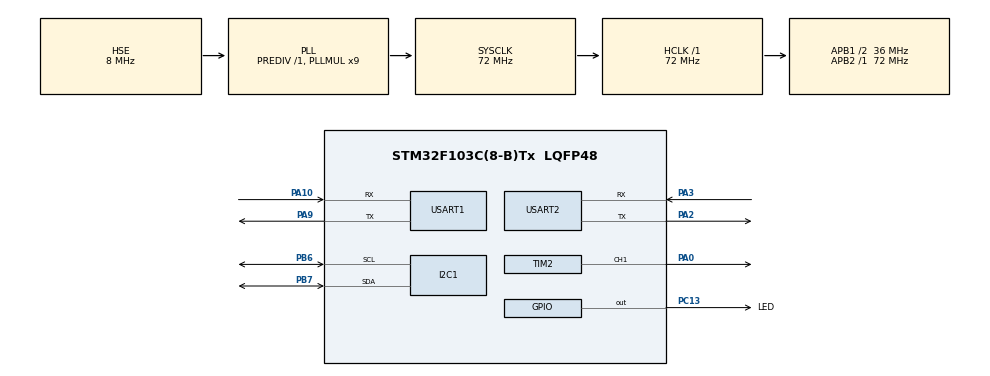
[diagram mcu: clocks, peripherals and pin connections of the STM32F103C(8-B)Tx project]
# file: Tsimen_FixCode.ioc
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ADC1.Channel-0\#ChannelRegularConversion=ADC_CHANNEL_TEMPSENSOR
ADC1.ContinuousConvMode=ENABLE
ADC1.NbrOfConversion=1
ADC1.NbrOfConversionFlag=1
ADC1.Rank-0\#ChannelRegularConversion=1
ADC1.SamplingTime-0\#ChannelRegularConversion=ADC_SAMPLETIME_71CYCLES_5
ADC1.master=1
Dma.Request0=USART1_RX
Dma.Request1=USART1_TX
Dma.Request2=USART2_RX
Dma.Request3=USART2_TX
Dma.USART1_RX.0.Direction=DMA_PERIPH_TO_MEMORY
Dma.USART1_RX.0.Instance=DMA1_Channel5
Dma.USART1_RX.0.MemDataAlignment=DMA_MDATAALIGN_BYTE
Dma.USART1_RX.0.MemInc=DMA_MINC_ENABLE
Dma.USART1_RX.0.Mode=DMA_CIRCULAR
Dma.USART1_RX.0.PeriphDataAlignment=DMA_PDATAALIGN_BYTE
Dma.USART1_RX.0.PeriphInc=DMA_PINC_DISABLE
Dma.USART1_RX.0.Priority=DMA_PRIORITY_LOW
Dma.USART1_TX.1.Direction=DMA_MEMORY_TO_PERIPH
Dma.USART1_TX.1.Instance=DMA1_Channel4
Dma.USART1_TX.1.MemDataAlignment=DMA_MDATAALIGN_BYTE
Dma.USART1_TX.1.MemInc=DMA_MINC_ENABLE
Dma.USART1_TX.1.Mode=DMA_NORMAL
Dma.USART1_TX.1.PeriphDataAlignment=DMA_PDATAALIGN_BYTE
Dma.USART1_TX.1.PeriphInc=DMA_PINC_DISABLE
Dma.USART1_TX.1.Priority=DMA_PRIORITY_LOW
Dma.USART2_RX.2.Direction=DMA_PERIPH_TO_MEMORY
Dma.USART2_RX.2.Instance=DMA1_Channel6
Dma.USART2_RX.2.MemDataAlignment=DMA_MDATAALIGN_BYTE
Dma.USART2_RX.2.MemInc=DMA_MINC_ENABLE
Dma.USART2_RX.2.Mode=DMA_CIRCULAR
Dma.USART2_RX.2.PeriphDataAlignment=DMA_PDATAALIGN_BYTE
Dma.USART2_RX.2.PeriphInc=DMA_PINC_DISABLE
Dma.USART2_RX.2.Priority=DMA_PRIORITY_LOW
Dma.USART2_TX.3.Direction=DMA_MEMORY_TO_PERIPH
Dma.USART2_TX.3.Instance=DMA1_Channel7
Dma.USART2_TX.3.MemDataAlignment=DMA_MDATAALIGN_BYTE
Dma.USART2_TX.3.MemInc=DMA_MINC_ENABLE
Dma.USART2_TX.3.Mode=DMA_NORMAL
Dma.USART2_TX.3.PeriphDataAlignment=DMA_PDATAALIGN_BYTE
Dma.USART2_TX.3.PeriphInc=DMA_PINC_DISABLE
Dma.USART2_TX.3.Priority=DMA_PRIORITY_LOW
Mcu.Family=STM32F1
Mcu.Name=STM32F103C(8-B)Tx
Mcu.Package=LQFP48
NVIC.DMA1_Channel4_IRQn=true\:1\:0\:true\:false\:true\:false\:true
NVIC.DMA1_Channel5_IRQn=true\:1\:0\:true\:false\:true\:false\:true
NVIC.DMA1_Channel6_IRQn=true\:1\:0\:true\:false\:true\:false\:true
NVIC.DMA1_Channel7_IRQn=true\:1\:0\:true\:false\:true\:false\:true
NVIC.PriorityGroup=NVIC_PRIORITYGROUP_4
NVIC.TIM2_IRQn=true\:0\:0\:false\:false\:true\:true\:true
NVIC.USART1_IRQn=true\:1\:0\:true\:false\:true\:true\:true
NVIC.USART2_IRQn=true\:1\:0\:true\:false\:true\:true\:true
PA0-WKUP.Signal=S_TIM2_CH1_ETR
PA10.GPIO_PuPd=GPIO_PULLDOWN
PA10.Mode=Asynchronous
PA10.Signal=USART1_RX
PA13.Mode=Serial_Wire
PA13.Signal=SYS_JTMS-SWDIO
PA14.Mode=Serial_Wire
PA14.Signal=SYS_JTCK-SWCLK
PA2.Mode=Asynchronous
PA2.Signal=USART2_TX
PA3.GPIO_PuPd=GPIO_PULLDOWN
PA3.Mode=Asynchronous
PA3.Signal=USART2_RX
PA9.Mode=Asynchronous
PA9.Signal=USART1_TX
PB6.Mode=I2C
PB6.Signal=I2C1_SCL
PB7.Mode=I2C
PB7.Signal=I2C1_SDA
PC13-TAMPER-RTC.GPIO_Label=LED
PC13-TAMPER-RTC.GPIO_ModeDefaultOutputPP=GPIO_MODE_OUTPUT_PP
PC13-TAMPER-RTC.GPIO_PuPd=GPIO_NOPULL
PC13-TAMPER-RTC.PinState=GPIO_PIN_SET
PC13-TAMPER-RTC.Signal=GPIO_Output
PD0-OSC_IN.Mode=HSE-External-Oscillator
PD0-OSC_IN.Signal=RCC_OSC_IN
PD1-OSC_OUT.Mode=HSE-External-Oscillator
PD1-OSC_OUT.Signal=RCC_OSC_OUT
ProjectManager.HeapSize=0x200
ProjectManager.StackSize=0x400
ProjectManager.TargetToolchain=MDK-ARM V5
RCC.ADCPresc=RCC_ADCPCLK2_DIV6
RCC.AHBFreq_Value=72000000
RCC.APB1CLKDivider=RCC_HCLK_DIV2
RCC.APB1Freq_Value=36000000
RCC.APB1TimFreq_Value=72000000
RCC.APB2Freq_Value=72000000
RCC.APB2TimFreq_Value=72000000
RCC.HCLKFreq_Value=72000000
RCC.PLLMUL=RCC_PLL_MUL9
RCC.PLLSourceVirtual=RCC_PLLSOURCE_HSE
RCC.SYSCLKFreq_VALUE=72000000
RCC.SYSCLKSource=RCC_SYSCLKSOURCE_PLLCLK
RCC.USBFreq_Value=72000000
SH.S_TIM2_CH1_ETR.0=TIM2_CH1,PWM Generation1 CH1
TIM2.Channel-PWM\ Generation1\ CH1=TIM_CHANNEL_1
TIM2.Period=19999
TIM2.Prescaler=71
USART1.VirtualMode=VM_ASYNC
USART2.VirtualMode=VM_ASYNC
VP_ADC1_TempSens_Input.Mode=IN-TempSens
VP_TIM2_VS_ClockSourceINT.Mode=Internal
board=custom

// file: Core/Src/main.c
/* USER CODE BEGIN Header */
/**
  ******************************************************************************
  * @file           : main.c
  * @brief          : Main program body
  ******************************************************************************
  * @attention
  *
  * Copyright (c) 2022 STMicroelectronics.
  * All rights reserved.
  *
  * This software is licensed under terms that can be found in the LICENSE file
  * in the root directory of this software component.
  * If no LICENSE file comes with this software, it is provided AS-IS.
  *
  ******************************************************************************
  */
/* USER CODE END Header */
#include "main.h"
#include "adc.h"
#include "dma.h"
#include "i2c.h"
#include "tim.h"
#include "usart.h"
#include "gpio.h"

/* USER CODE BEGIN Includes */
#include <stdio.h>
#include <string.h>
#include "sht30_i2c_driver.h"
/* USER CODE END Includes */

/* USER CODE BEGIN PV */

//Some messy variable definitions.
extern uint8_t I2CRXBuffer[6];                                                //T&H Sensor data buffer
// uint8_t dataone[7] = {0x01,0x06,0x00,0x00,0x08,0x88,0x0c};                 //We will never use this array again.
// uint8_t rebuffer[10];                                                      //We will never use this array again.
int i = 0 ,x = 0;                                                             //Common variables
int CRC_i = 0,CRC_j = 0;                                                      //These two variables is used for CRC16 check.
uint16_t CRC16 = 0;                                                           //This is a 16 bit variable. To save the CRCdata
uint8_t CRC_Data[16] = {0};                                                   //This is an array of 16 elements. To store the checked data of PC communication.
int memv_i,memv_j;                                                            //These two variables is used for a private function, which is used for move elements of a specific length in array A to array B.
int view_i;
uint8_t MAC[] ={"-MAC:[20-22-03-17-18-26]"};                                  //This is the version of the embedded system.
uint8_t Ver[47] = {0};                                                        //This array will be used to store the complete version information of Tsimen2.0 .

//To communicate with the system.
uint8_t U1_Spec_reset[] = {0x01,0x06,0x00,0x00,0x00,0x00,0xCA,0x89};          //reset the spectrometer
uint8_t U1_Spec_mac[] = {0x01,0x03,0x00,0x00,0x00,0x00,0xCA,0x45};            //receive the MAC version
uint8_t U1_Spec_integ[] = {0x01,0x64,0x00,0x00,0x01,0xF4,0x15,0x70};          //configure the integration time
uint8_t U1_Spec_vinteg[] = {0x01,0x65,0x00,0x00,0x00,0x00,0xC2,0x4D};         //view the integration time
uint8_t U1_Spec_pul1[] = {0x01,0x68};                                         //configure the lamp pulse(command1)
uint8_t U1_Spec_pul2[] = {0x01,0x69};                                         //configure the lamp pulse(command2)
uint8_t U1_Spec_vpul[] = {0x01,0x6A,0x00,0x00,0x00,0x00,0xC3,0x19};           //view the lamp pulse
uint8_t U1_Spec_pix[] = {0x01,0x6B};                                          //configure the pixel range
uint8_t U1_Spec_vpix[] = {0x01,0x6C,0x00,0x00,0x00,0x00,0xC3,0x91};           //view the pixel range
uint8_t U1_Spec_ave[] = {0x01,0x6E};                                          //configure the average times
// uint8_t U1_Spec_ave50[] = {0x01,0x6E,0x00,0x32,0x00,0x00,0xCC,0X49};          //configure the average 50
uint8_t U1_Spec_vave[] = {0x01,0x6F,0x00,0x00,0x00,0x00,0xC3,0xD5};           //view the average times
uint8_t U1_Spec_get_par[] = {0x01,0x67,0x00,0x00,0x00,0x00,0x02,0x34};        //get the calibration parameters
uint8_t U1_Spec_vwavelength[] = {0x01,0x6D,0x00,0x00,0x00,0x00,0x03,0xAC};    //view all wavelength values corresponding to the current pixel range
uint8_t U1_Spec_darkdata[] = {0x01,0x86,0x00,0x00,0x00,0x00,0x14,0x88};       //get the spectrometer data under dark current
uint8_t U1_Spec_referdata[] = {0x01,0x87,0x00,0x00,0x00,0x00,0xD4,0xB5};      //get the spectrometer data under reference signal
uint8_t U1_Spec_samdata[] = {0x01,0x88,0x00,0x00,0x00,0x00,0xD5,0xE1};        //get the spectrometer data under sample signal
uint8_t U1_Spec_totaldata[] = {0x01,0x89,0x00,0x00,0x00,0x00,0x15,0xDC};      //get the spectrometer data under three conditions
// uint8_t U1_SPec_intemp[] = {0x01,0x91,0x00,0x00,0x00,0x00,0x17,0xFC};         //get the internal ambient temperature
// uint8_t U1_Spec_extemp[] = {0x01,0x90,0x00,0x00,0x00,0x00,0xD7,0xC1};         //get the external ambient temperature
uint8_t U1_Spec_temp[] = {0x01,0x90,0x00,0x00,0x00,0x00,0xD7,0XC1};           //get the intemp and out temp and outhum.
uint8_t U1_Spec_wave[] = {0x01,0x91};                                        //view the waveform
// uint8_t U1_Spec_test1[] = {0x01,0x10};                                         //Test1
// uint8_t U1_Spec_test2[] = {0x01,0x11};                                         //Test2

//To communicate with the spectrometer.
uint8_t U2_Spec_reset[] = {0x52,0xBD,0x3E};                                         //usart2 to reset the spectrometer
uint8_t U2_Spec_mac[] = {0x56,0x7E,0x3F};                                           //usart2 to receive the MAC version
uint8_t U2_Spec_integ[] = {0x69,0x00,0x00,0x01,0xF4,0x1E,0x78};                     //usart2 to Configure the integration time
uint8_t U2_Spec_vinteg[] = {0x3F,0x69,0x6E,0xD0};                                   //usart2 to view the integration time
uint8_t U2_Spec_pul[] = {0x30,0x00,0x00,0x27,0x10,0x00,0x04,0x93,0xE0,0x5C,0xB5};   //usart2 to configure the lamp pulse
uint8_t U2_Spec_vpul[] = {0x3F,0x30,0x54,0x10};                                     //usart2 to view the lamp pulse
uint8_t U2_Spec_pix[] = {0x50,0x00,0x03,0x00,0x00,0x07,0xFF,0x00,0x01,0x77,0x35};   //usart2 to configure the pixel range
uint8_t U2_Spec_vpix[] = {0x3F,0x50,0x7C,0x10};                                     //usart2 to view the pixel range
uint8_t U2_Spec_ave[] = {0x41,0x00,0x00,0xCA,0x21};                                 //usart2 to configure the average times
uint8_t U2_Spec_ave50[] = {0x41,0x00,0x32,0x01,0xA0};
uint8_t U2_Spec_vave[] = {0x3F,0x41,0x70,0xD0};                                     //usart2 to view the average times
uint8_t U2_Spec_get_par[] = {0x78,0x62,0xBF};                                       //usart2 to get the calibration parameters
uint8_t U2_Spec_vwavelength[] = {0x3F,0x53,0x7D,0x50};                              //usart2 to view all wavelength values corresponding to the current pixel range
uint8_t U2_Spec_xenonoff[] = {0x31,0x00,0x20,0x14};                                 //usart2 to turn off the xenon
uint8_t U2_Spec_xenonon[] = {0x31,0x01,0xE0,0xD5};                                  //usart2 to turn on the xenon
uint8_t U2_Spec_xenononone[] = {0x31,0x81,0x40,0xD4};                               //usart2 to turn on the xenon in one time mode.
uint8_t U2_Spec_getdata[] = {0x53,0x7D,0xFF};                                       //usart2 to get the spectrometer data

// uint8_t ErrorUsart1[] = {0xFF,0XFF,0xFF,0XFF,0xFF,0XFF,0xFF,0XFF};               //USART1's data error.

uint8_t Spec_OK[] = {0x06,0x42,0x3F};                                               //Spectrometer return data when the message is right.

uint8_t testmotor[] = {0xFF};                                                    //This array is used to test the steering angle of motor.
/* USER CODE END PV */

void SystemClock_Config(void);

int main(void)
{

  /* MCU Configuration--------------------------------------------------------*/

  /* Reset of all peripherals, Initializes the Flash interface and the Systick. */
  HAL_Init();

  /* USER CODE BEGIN Init */
  //To clear the cache of these array
  memset(I2CRXBuffer,0,sizeof(I2CRXBuffer));
  memset(CRC_Data,0,sizeof(CRC_Data));
  memset(Ver,0,sizeof(Ver));
  memset(Dec,0,sizeof(Dec));
  memset(Data,0,sizeof(Data));

  // #ifdef __GNUC__
  // #define PUTCHAR_PROTOTYPE int __io_putchar(int ch)
  // #else
  // #define PUTCHAR_PROTOTYPE int fputc(int ch, FILE *f)
  // #endif
  // PUTCHAR_PROTOTYPE
  // {
  //    //具体哪个串口可以更改USART1为其它串�??
  //    while ((USART1->SR & 0X40) == 0); //循环发�??,直到发�?�完�??
  //    USART1->DR = (uint8_t) ch;
  //    return ch;
  // }

  /* USER CODE END Init */

  /* Configure the system clock */
  SystemClock_Config();

  /* Initialize all configured peripherals */
  MX_GPIO_Init();
  MX_DMA_Init();
  MX_USART1_UART_Init();
  MX_ADC1_Init();
  MX_I2C1_Init();
  MX_TIM2_Init();
  MX_USART2_UART_Init();
  /* USER CODE BEGIN 2 */

  //Turn on the DMA receiver.
  HAL_UART_Receive_DMA(&huart1,Rx1_Buffer,Rx1BufferSize);
  HAL_UART_Receive_DMA(&huart2,Rx2_Buffer,Rx2BufferSize);

  //Turn on the PWM.
  HAL_TIM_PWM_Start(&htim2,TIM_CHANNEL_1);
  // __HAL_TIM_SET_COMPARE(&htim2,TIM_CHANNEL_1,500);
  // HAL_Delay(700);
  // PWM_start();
  // HAL_Delay(700);
  // __HAL_TIM_SET_COMPARE(&htim2,TIM_CHANNEL_1,1500);
  PWM_dark();
  HAL_Delay(700);

  HAL_UART_Transmit(&huart2,U2_Spec_reset,3,0xFFFF);
  HAL_Delay(700);
  // HAL_UART_Transmit(&huart2,U2_Spec_ave50,5,0xFFFF);
  // HAL_Delay(700);

  //Debug the motor
  // HAL_TIM_PWM_Start(&htim2,TIM_CHANNEL_1);
  // __HAL_TIM_SET_COMPARE(&htim2,TIM_CHANNEL_1,2500);
  // HAL_Delay(700);
  // __HAL_TIM_SET_COMPARE(&htim2,TIM_CHANNEL_1,1500);
  // HAL_Delay(700);

  /* USER CODE END 2 */

  /* Infinite loop */
  /* USER CODE BEGIN WHILE */
  while (1)
  {

    //We use the PINC13 to flash the LED.
    HAL_GPIO_WritePin(GPIOC,LED_Pin,GPIO_PIN_SET);
    HAL_Delay(50);

    /**
     * @brief This comes to the main part of the communication instruction. Totally
     */

    //To reset the spectrometer --- command one
    // if (memcmp(Dec,U1_Spec_reset,6) == 0)
    //   {
    //     //ModBus_CRC16
    //     PWM_dark();
    //     CRC16 = ModBus_CRC16(Dec,6);
    //     if (Dec[7]==(uint8_t)CRC16&0xFF && Dec[6]==(uint8_t)(CRC16>>8)&0xFF)
    //     {
    //       CRC16 = 0;
    //       // HAL_UART_Transmit(&huart1,Dec,8,0xFFFF);
    //       HAL_UART_Transmit(&huart2,U2_Spec_reset,3,0xFFFF);

    //       // for (i=0;i<100;i++)
    //       // {
    //       //   if (memcmp(Data,Spec_OK,3) == 0)
    //       //   {break;}
    //       // }

    //       // while (memcmp(Data,Spec_OK,3) != 0)
    //       // {
    //       //   HAL_UART_Transmit(&huart2,U2_Spec_reset,3,0xFFFF);
    //       //   HAL_Delay(50);
    //       //   HAL_GPIO_TogglePin(GPIOC,LED_Pin);
    //       // }
    //       // HAL_UART_Transmit(&huart1,Data,Rx2_lendemo,0xFFFF);
    //       // __HAL_TIM_SET_COMPARE(&htim2,TIM_CHANNEL_1,2500);
    //       // HAL_Delay(700);
    //       // __HAL_TIM_SET_COMPARE(&htim2,TIM_CHANNEL_1,1500);
    //       // HAL_Delay(700);
    //       // HAL_Delay(30);
    //       Rx2_lendemo = 0;
    //       memset(Data,0,sizeof(Data));
    //       memset(Dec,0,sizeof(Dec));
    //     }
    //     else
    //     {
    //       HAL_UART_Transmit(&huart1,"CRCERROR",8,0xFFFF);     //if CRC check is incorrect ,then return "CRCERROR"
    //       memset(Dec,0,sizeof(Dec));
    //     }
    //   }

    // //To view the MAC version --- command two
    // else if (memcmp(Dec,U1_Spec_mac,6) == 0)
    //   {
    //     //ModBus_CRC16
    //     CRC16 = ModBus_CRC16(Dec,6);
    //     if (Dec[7]==(uint8_t)CRC16&0xFF && Dec[6]==(uint8_t)(CRC16>>8)&0xFF)
    //     {
    //       CRC16 = 0;
    //       // HAL_UART_Transmit(&huart1,Dec,2,0xFFFF);
    //       HAL_UART_Transmit(&huart2,U2_Spec_mac,sizeof(U2_Spec_mac),0xFFFF);
    //       // while (memcmp(Data,Spec_mac,23) != 0)
    //       // {
    //       //   HAL_UART_Transmit(&huart2,U2_Spec_mac,3,0xFFFF);
    //       //   HAL_Delay(50);
    //       //   HAL_GPIO_TogglePin(GPIOC,LED_Pin);
    //       // }
    //       HAL_Delay(30);
    //       memv(Ver,Data,0,0,21);
    //       strcat(Ver,MAC);
    //       CRC16 = ModBus_CRC16(Ver,45);
    //       Ver[46] = CRC16 & 0xFF;
    //       Ver[45] = (CRC16 >> 8) & 0xFF;
    //       HAL_UART_Transmit(&huart1,Ver,sizeof(Ver),0xFFFF);
    //       Rx2_lendemo = 0;
    //       // x = 0;
    //       memset(Ver,0,sizeof(Ver));
    //       memset(Data,0,sizeof(Data));
    //       memset(Dec,0,sizeof(Dec));
    //     }
    //     else
    //     {
    //       HAL_UART_Transmit(&huart1,"CRCERROR",8,0xFFFF);     //if CRC check is incorrect ,then return "CRCERROR"
    //       memset(Dec,0,sizeof(Dec));
    //     }
    //   }

    // //To configure the integration time --- command three
    // else if (memcmp(Dec,U1_Spec_integ,2) == 0)
    //   {
    //     //ModBus_CRC16
    //     CRC16 = ModBus_CRC16(Dec,6);
    //     if (Dec[7]==(uint8_t)CRC16&0xFF && Dec[6]==(uint8_t)(CRC16>>8)&0xFF)
    //     {
    //       CRC16 = 0;
    //       U2_Spec_integ[1] = Dec[2];
    //       U2_Spec_integ[2] = Dec[3];
    //       U2_Spec_integ[3] = Dec[4];
    //       U2_Spec_integ[4] = Dec[5];
    //       CRC16 = ModBus_CRC16(U2_Spec_integ,5);
    //       U2_Spec_integ[6] = CRC16 & 0xFF;
    //       U2_Spec_integ[5] = (CRC16 >> 8) & 0xFF;
    //       CRC16 = 0;
    //       // HAL_UART_Transmit(&huart1,Dec,8,0xFFFF);
    //       HAL_UART_Transmit(&huart2,U2_Spec_integ,sizeof(U2_Spec_integ),0xFFFF);

    //       // for (i=0;i<100;i++)
    //       // {
    //       //   if (memcmp(Data,Spec_OK,3) == 0 )
    //       //   {break;}
    //       // }

    //       // while(memcmp(Data,CRC,sizeof(CRC) != 0)
    //       // {}
    //       HAL_Delay(30);
    //       // HAL_UART_Transmit(&huart1,Data,Rx2_lendemo,0xFFFF);
    //       Rx2_lendemo = 0;
    //       memset(Data,0,sizeof(Data));
    //       memset(Dec,0,sizeof(Dec));
    //     }
    //     else
    //     {
    //       HAL_UART_Transmit(&huart1,"CRCERROR",8,0xFFFF);     //if CRC check is incorrect ,then return "CRCERROR"
    //       memset(Dec,0,sizeof(Dec));
    //     }
    //   }

    // //To view the integration time --- command four
    // else if (memcmp(Dec,U1_Spec_vinteg,6) == 0)
    //   {
    //     //ModBus_CRC16
    //     CRC16 = ModBus_CRC16(Dec,6);
    //     if (Dec[7]==(uint8_t)CRC16&0xFF && Dec[6]==(uint8_t)(CRC16>>8)&0xFF)
    //     {
    //       CRC16 = 0;
    //       // HAL_UART_Transmit(&huart1,Dec,8,0xFFFF);
    //       HAL_UART_Transmit(&huart2,U2_Spec_vinteg,sizeof(U2_Spec_vinteg),0xFFFF);
    //       //while()
    //       //{}
    //       HAL_Delay(30);
    //       CRC_Data[0] = 0x01;
    //       CRC_Data[1] = 0x65;
    //       memv(CRC_Data,Data,2,1,4);
    //       CRC16 = ModBus_CRC16(CRC_Data,6);
    //       CRC_Data[7] = CRC16 & 0xFF;
    //       CRC_Data[6] = (CRC16>>8) & 0xFF;
    //       memv(Data,CRC_Data,0,0,8);
    //       HAL_UART_Transmit(&huart1,Data,8,0xFFFF);
    //       Rx2_lendemo = 0;
    //       memset(Data,0,sizeof(Data));
    //       memset(Dec,0,sizeof(Dec));
    //     }
    //     else
    //     {
    //       HAL_UART_Transmit(&huart1,"CRCERROR",8,0xFFFF);     //if CRC check is incorrect ,then return "CRCERROR"
    //       memset(Dec,0,sizeof(Dec));
    //     }
    //   }

    // //To configure the lamp pulse --- command five
    // else if (memcmp(Dec,U1_Spec_pul1,2) == 0)
    //   {
    //     CRC16 = ModBus_CRC16(Dec,6);
    //     memset(CRC_Data,0,sizeof(CRC_Data));
    //     if (Dec[7]==(uint8_t)CRC16&0xFF && Dec[6]==(uint8_t)(CRC16>>8)&0xFF)
    //     {
    //       CRC16 = 0;
    //       if (Dec[8] == 0x01 && Dec[9] == 0x69)
    //       {

    //         memv(CRC_Data,Dec,0,8,6);
    //         // HAL_UART_Transmit(&huart1,CRC_Data,8,0xFFFF);
    //         CRC16 = ModBus_CRC16(CRC_Data,6);
    //         memset(CRC_Data,0,sizeof(CRC_Data));
    //         if (Dec[15]==(uint8_t)CRC16&0xFF && Dec[14]==(uint8_t)(CRC16>>8)&0xFF)
    //         {
    //           CRC16 = 0;
    //           // U2_Spec_pul[1] = Dec[2];
    //           // U2_Spec_pul[2] = Dec[3];
    //           // U2_Spec_pul[3] = Dec[4];
    //           // U2_Spec_pul[4] = Dec[5];
    //           // U2_Spec_pul[5] = Dec[10];
    //           // U2_Spec_pul[6] = Dec[11];
    //           // U2_Spec_pul[7] = Dec[12];
    //           // U2_Spec_pul[8] = Dec[13];

    //           memv(U2_Spec_pul,Dec,1,2,4);
    //           memv(U2_Spec_pul,Dec,5,10,4);

    //           CRC16 = ModBus_CRC16(U2_Spec_pul,9);
    //           U2_Spec_pul[10] = CRC16 & 0xFF;
    //           U2_Spec_pul[9] = (CRC16 >> 8) & 0xFF;
    //           memv(Dec,U2_Spec_pul,2,1,8);
    //           CRC16 = ModBus_CRC16(Dec,10);
    //           Dec[11] = CRC16 & 0xFF;
    //           Dec[10] = (CRC16 >> 8) & 0xFF;
    //           HAL_UART_Transmit(&huart2,U2_Spec_pul,sizeof(U2_Spec_pul),0xFFFF);
    //           // HAL_UART_Transmit(&huart1,Dec,12,0xFFFF);
    //           //while()
    //           //{}
    //           HAL_Delay(30);
    //           // HAL_UART_Transmit(&huart1,Data,Rx2_lendemo,0xFFFF);
    //           Rx2_lendemo = 0;
    //           memset(Data,0,sizeof(Data));
    //           memset(Dec,0,sizeof(Dec));
    //         }
    //         else
    //         {
    //           HAL_UART_Transmit(&huart1,"CRCERROR",8,0xFFFF);     //if CRC check is incorrect ,then return "CRCERROR"
    //           memset(Dec,0,sizeof(Dec));
    //         }
    //       }
    //     }
    //     else
    //     {
    //       HAL_UART_Transmit(&huart1,"CRCERROR",8,0xFFFF);
    //       memset(Dec,0,sizeof(Dec));
    //     }
    //   }

    // //To view the lamp pulse --- command six
    // else if (memcmp(Dec,U1_Spec_vpul,6) == 0)
    //   {
    //     //ModBus_CRC16
    //     CRC16 = ModBus_CRC16(Dec,6);
    //     if (Dec[7]==(uint8_t)CRC16&0xFF && Dec[6]==(uint8_t)(CRC16>>8)&0xFF)
    //     {
    //       CRC16 = 0;
    //       // HAL_UART_Transmit(&huart1,Dec,8,0xFFFF);
    //       HAL_UART_Transmit(&huart2,U2_Spec_vpul,sizeof(U2_Spec_vpul),0xFFFF);
    //       //while()
    //       //{}
    //       HAL_Delay(30);
    //       CRC_Data[0] = 0x01;
    //       CRC_Data[1] = 0x6A;
    //       memv(CRC_Data,Data,2,1,8);
    //       CRC16 = ModBus_CRC16(CRC_Data,10);
    //       CRC_Data[11] = CRC16 & 0xFF;
    //       CRC_Data[10] = (CRC16 >> 8) & 0xFF;
    //       memv(Data,CRC_Data,0,0,12);
    //       HAL_UART_Transmit(&huart1,Data,12,0xFFFF);
    //       Rx2_lendemo = 0;
    //       memset(Data,0,sizeof(Data));
    //       memset(Dec,0,sizeof(Dec));
    //     }
    //     else
    //     {
    //       HAL_UART_Transmit(&huart1,"CRCERROR",8,0xFFFF);     //if CRC check is incorrect ,then return "CRCERROR"
    //       memset(Dec,0,sizeof(Dec));
    //     }
    //   }

    // //To configure the pixel range --- command seven
    // else if (memcmp(Dec,U1_Spec_pix,2) == 0)
    //   {
    //     //ModBus_CRC16
    //     CRC16 = ModBus_CRC16(Dec,6);
    //     if (Dec[7]==(uint8_t)CRC16&0xFF && Dec[6]==(uint8_t)(CRC16>>8)&0xFF)
    //     {
    //       CRC16 = 0;
    //       // U2_Spec_pix[3] = Dec[2];
    //       // U2_Spec_pix[4] = Dec[3];
    //       // U2_Spec_pix[5] = Dec[4];
    //       // U2_Spec_pix[6] = Dec[5];
    //       memv(U2_Spec_pix,Dec,3,2,4);
    //       CRC16 = ModBus_CRC16(U2_Spec_pix,9);
    //       U2_Spec_pix[10] = CRC16 & 0xFF;
    //       U2_Spec_pix[9] = (CRC16 >> 8) & 0xFF;
    //       // HAL_UART_Transmit(&huart1,U2_Spec_pix,sizeof(U2_Spec_pix),0xFFFF);
    //       HAL_UART_Transmit(&huart2,U2_Spec_pix,sizeof(U2_Spec_pix),0xFFFF);
    //       //while()
    //       //{}
    //       HAL_Delay(30);
    //       HAL_UART_Transmit(&huart1,Data,Rx2_lendemo,0xFFFF);
    //       Rx2_lendemo = 0;
    //       memset(Data,0,sizeof(Data));
    //       memset(Dec,0,sizeof(Dec));
    //     }
    //     else
    //     {
    //       HAL_UART_Transmit(&huart1,"CRCERROR",8,0xFFFF);     //if CRC check is incorrect ,then return "CRCERROR"
    //       memset(Dec,0,sizeof(Dec));
    //     }
    //   }

    // //To view the pixel range --- command eight
    // else if (memcmp(Dec,U1_Spec_vpix,6) == 0)
    //   {
    //     //ModBus_CRC16
    //     CRC16 = ModBus_CRC16(Dec,6);
    //     if (Dec[7]==(uint8_t)CRC16&0xFF && Dec[6]==(uint8_t)(CRC16>>8)&0xFF)
    //     {
    //       CRC16 = 0;
    //       // HAL_UART_Transmit(&huart1,Dec,8,0xFFFF);
    //       HAL_UART_Transmit(&huart2,U2_Spec_vpix,sizeof(U2_Spec_vpix),0xFFFF);
    //       //while()
    //       //{}
    //       HAL_Delay(30);
    //       CRC_Data[0] = 0x01;
    //       CRC_Data[1] = 0x6C;
    //       memv(CRC_Data,Data,2,1,4);
    //       CRC16 = ModBus_CRC16(CRC_Data,6);
    //       CRC_Data[7] = CRC16 & 0xFF;
    //       CRC_Data[6] = (CRC16 >> 8 ) & 0xFF;
    //       memv(Data,CRC_Data,0,0,8);
    //       HAL_UART_Transmit(&huart1,Data,8,0xFFFF);
    //       Rx2_lendemo = 0;
    //       memset(Data,0,sizeof(Data));
    //       memset(Dec,0,sizeof(Dec));
    //     }
    //     else
    //     {
    //       HAL_UART_Transmit(&huart1,"CRCERROR",8,0xFFFF);     //if CRC check is incorrect ,then return "CRCERROR"
    //       memset(Dec,0,sizeof(Dec));
    //     }
    //   }

    // //To configure the average times --- command nine
    // else if (memcmp(Dec,U1_Spec_ave,2) == 0)
    //   {
    //     //ModBus_CRC16
    //     CRC16 = ModBus_CRC16(Dec,6);
    //     if (Dec[7]==(uint8_t)CRC16&0xFF && Dec[6]==(uint8_t)(CRC16>>8)&0xFF)
    //     {
    //       CRC16 = 0;
    //       U2_Spec_ave[1] = Dec[2];
    //       U2_Spec_ave[2] = Dec[3];
    //       CRC16 = ModBus_CRC16(U2_Spec_ave,3);
    //       U2_Spec_ave[4] = CRC16 & 0xFF;
    //       U2_Spec_ave[3] = (CRC16 >> 8) & 0xFF;
    //       // HAL_UART_Transmit(&huart1,Dec,8,0xFFFF);
    //       HAL_UART_Transmit(&huart2,U2_Spec_ave,sizeof(U2_Spec_ave),0xFFFF);
    //       //while()
    //       //{}
    //       HAL_Delay(30);
    //       // HAL_UART_Transmit(&huart1,Data,Rx2_lendemo,0xFFFF);
    //       Rx2_lendemo = 0;
    //       memset(Data,0,sizeof(Data));
    //       memset(Dec,0,sizeof(Dec));
    //     }
    //     else
    //     {
    //       HAL_UART_Transmit(&huart1,"CRCERROR",8,0xFFFF);     //if CRC check is incorrect ,then return "CRCERROR"
    //       memset(Dec,0,sizeof(Dec));
    //     }
    //   }

    // //To view the average times --- command ten
    // else if (memcmp(Dec,U1_Spec_vave,6) == 0)
    //   {
    //     //ModBus_CRC16
    //     CRC16 = ModBus_CRC16(Dec,6);
    //     if (Dec[7]==(uint8_t)CRC16&0xFF && Dec[6]==(uint8_t)(CRC16>>8)&0xFF)
    //     {
    //       CRC16 = 0;
    //       // HAL_UART_Transmit(&huart1,Dec,8,0xFFFF);
    //       HAL_UART_Transmit(&huart2,U2_Spec_vave,sizeof(U2_Spec_vave),0xFFFF);
    //       //while()
    //       //{}
    //       HAL_Delay(30);
    //       memv(CRC_Data,U1_Spec_vave,0,0,4);
    //       memv(CRC_Data,Data,4,1,2);
    //       CRC16 = ModBus_CRC16(CRC_Data,6);
    //       CRC_Data[7] = CRC16 & 0xFF;
    //       CRC_Data[6] = (CRC16 >> 8) & 0xFF;
    //       memv(Data,CRC_Data,0,0,8);
    //       HAL_UART_Transmit(&huart1,Data,8,0xFFFF);
    //       Rx2_lendemo = 0;
    //       memset(Data,0,sizeof(Data));
    //       memset(Dec,0,sizeof(Dec));
    //     }
    //     else
    //     {
    //       HAL_UART_Transmit(&huart1,"CRCERROR",8,0xFFFF);     //if CRC check is incorrect ,then return "CRCERROR"
    //       memset(Dec,0,sizeof(Dec));
    //     }
    //   }

    // //To get the calibration parameters --- command eleven
    // else if (memcmp(Dec,U1_Spec_get_par,6) == 0)
    //   {
    //     //ModBus_CRC16
    //     CRC16 = ModBus_CRC16(Dec,6);
    //     if (Dec[7]==(uint8_t)CRC16&0xFF && Dec[6]==(uint8_t)(CRC16>>8)&0xFF)
    //     {
    //       CRC16 = 0;
    //       // HAL_UART_Transmit(&huart1,Dec,8,0xFFFF);
    //       HAL_UART_Transmit(&huart2,U2_Spec_get_par,sizeof(U2_Spec_get_par),0xFFFF);
    //       //while()
    //       //{}
    //       HAL_Delay(60);
    //       HAL_UART_Transmit(&huart1,Data,Rx2_lendemo,0xFFFF);
    //       Rx2_lendemo = 0;
    //       memset(Data,0,sizeof(Data));
    //       memset(Dec,0,sizeof(Dec));
    //     }
    //     else
    //     {
    //       HAL_UART_Transmit(&huart1,"CRCERROR",8,0xFFFF);     //if CRC check is incorrect ,then return "CRCERROR"
    //       memset(Dec,0,sizeof(Dec));
    //     }
    //   }

    // //To view all wavelength values corresponding to the current pixel range --- command twelve
    // else if (memcmp(Dec,U1_Spec_vwavelength,6) == 0)
    //   {
    //     //ModBus_CRC16
    //     CRC16 = ModBus_CRC16(Dec,6);
    //     if (Dec[7]==(uint8_t)CRC16&0xFF && Dec[6]==(uint8_t)(CRC16>>8)&0xFF)
    //     {
    //       CRC16 = 0;
    //       // HAL_UART_Transmit(&huart1,Dec,8,0xFFFF);
    //       HAL_UART_Transmit(&huart2,U2_Spec_vwavelength,sizeof(U2_Spec_vwavelength),0xFFFF);
    //       //while()
    //       //{}
    //       HAL_UART_DMAStop(&huart2);
    //       __HAL_UART_DISABLE_IT(&huart2,UART_IT_IDLE);
    //       HAL_UART_Receive(&huart2,Data,Rx2BufferSize,0x28A);
    //       //If the wavelength of two adjacent pixels is 0, then jump out of the loop to send data
    //       for (x=0;x<Rx2BufferSize;x++)
    //       {
    //         if (Data[x] == 0x00)
    //         {
    //           x += 1;
    //           if (Data[x] == 0x00)
    //           { x -= 1;
    //           break;
    //           }
    //         }
    //       }
    //       HAL_UART_Transmit(&huart1,Data,x,0xFFFF);
    //       Rx2_lendemo = 0;
    //       memset(Data,0,sizeof(Data));
    //       memset(Dec,0,sizeof(Dec));
    //       __HAL_UART_ENABLE_IT(&huart2,UART_IT_IDLE);
    //       HAL_UART_Receive_DMA(&huart2,Data,Rx2BufferSize);
    //     }
    //     else
    //     {
    //       HAL_UART_Transmit(&huart1,"CRCERROR",8,0xFFFF);     //if CRC check is incorrect ,then return "CRCERROR"
    //       memset(Dec,0,sizeof(Dec));
    //     }
    //   }

    // //To get the spectrometer data under dark current --- command thirteen
    // else if (memcmp(Dec,U1_Spec_darkdata,6) == 0)
    //   {
    //     //ModBus_CRC16
    //     CRC16 = ModBus_CRC16(Dec,6);
    //     if (Dec[7]==(uint8_t)CRC16&0xFF && Dec[6]==(uint8_t)(CRC16>>8)&0xFF)
    //     {
    //       CRC16 = 0;
    //       // HAL_UART_Transmit(&huart1,Dec,8,0xFFFF);
    //       HAL_UART_Transmit(&huart2,U2_Spec_xenonoff,sizeof(U2_Spec_xenonoff),0xFFFF);
    //       HAL_Delay(20);
    //       // HAL_UART_Transmit(&huart1,Data,Rx2_lendemo,0xFFFF);

    //       if (memcmp(Data,Spec_OK,sizeof(Spec_OK)) == 0)
    //       {
    //         PWM_dark();
    //         Rx2_lendemo = 0;
    //         memset(Data,0,sizeof(Data));
    //         memset(Dec,0,sizeof(Dec));
    //         HAL_Delay(50);
    //         HAL_UART_DMAStop(&huart2);
    //         __HAL_UART_DISABLE_IT(&huart2,UART_IT_IDLE);
    //         // HAL_UART_Transmit(&huart1,U2_Spec_getdata,sizeof(U2_Spec_getdata),0xFFFF);
    //         HAL_UART_Transmit(&huart2,U2_Spec_getdata,sizeof(U2_Spec_getdata),0xFFFF);

    //       HAL_UART_Receive(&huart2,Data,Rx2BufferSize,3000);
    //       //If the spectrometer data is 0 twice in a row, jump out of the loop and send the data
    //       for (x=0;x<Rx2BufferSize;x++)
    //       {
    //         if (Data[x] == 0x00)
    //         {
    //           x += 1;
    //           if (Data[x] == 0x00)
    //           { x -= 1;
    //           break;
    //           }
    //         }
    //       }
    //       HAL_UART_Transmit(&huart1,Data,x,0xFFFF);
    //       Rx2_lendemo = 0;
    //       memset(Data,0,sizeof(Data));
    //       memset(Dec,0,sizeof(Dec));
    //       __HAL_UART_ENABLE_IT(&huart2,UART_IT_IDLE);
    //       HAL_UART_Receive_DMA(&huart2,Data,Rx2BufferSize);
    //       }
    //     }
    //     else
    //     {
    //       HAL_UART_Transmit(&huart1,"CRCERROR",8,0xFFFF);     //if CRC check is incorrect ,then return "CRCERROR"
    //       memset(Dec,0,sizeof(Dec));
    //     }
    //   }

    // //To get the spectrometer data under reference signal --- command fourteen
    // else if (memcmp(Dec,U1_Spec_referdata,6) == 0)
    //   {
    //     //ModBus_CRC16
    //     CRC16 = ModBus_CRC16(Dec,6);
    //     if (Dec[7]==(uint8_t)CRC16&0xFF && Dec[6]==(uint8_t)(CRC16>>8)&0xFF)
    //     {
    //       CRC16 = 0;
    //       // HAL_TIM_PWM_Start(&htim2,TIM_CHANNEL_1);
    //       PWM_Reference();
    //       HAL_Delay(500);
    //       // HAL_UART_Transmit(&huart1,Dec,8,0xFFFF);
    //       HAL_UART_Transmit(&huart2,U2_Spec_xenonon,sizeof(U2_Spec_xenonon),0xFFFF);
    //       HAL_Delay(20);
    //       // HAL_UART_Transmit(&huart1,Data,Rx2_lendemo,0xFFFF);

    //       if (memcmp(Data,Spec_OK,sizeof(Spec_OK)) == 0)
    //       {
    //         Rx2_lendemo = 0;
    //         memset(Data,0,sizeof(Data));
    //         memset(Dec,0,sizeof(Dec));
    //         HAL_Delay(50);
    //         // HAL_UART_Transmit(&huart1,U2_Spec_getdata,sizeof(U2_Spec_getdata),0xFFFF);
    //         HAL_UART_Transmit(&huart2,U2_Spec_getdata,sizeof(U2_Spec_getdata),0xFFFF);

    //       HAL_UART_DMAStop(&huart2);
    //       __HAL_UART_DISABLE_IT(&huart2,UART_IT_IDLE);
    //       HAL_UART_Receive(&huart2,Data,Rx2BufferSize,3000);
    //       //If the spectrometer data is 0 twice in a row, jump out of the loop and send the data
    //       for (x=0;x<Rx2BufferSize;x++)
    //       {
    //         if (Data[x] == 0x00)
    //         {
    //           x += 1;
    //           if (Data[x] == 0x00)
    //           {
    //             x -= 1;
    //             break;
    //           }
    //         }
    //       }
    //       HAL_UART_Transmit(&huart1,Data,x,0xFFFF);
    //       Rx2_lendemo = 0;
    //       memset(Data,0,sizeof(Data));
    //       memset(Dec,0,sizeof(Dec));
    //       __HAL_UART_ENABLE_IT(&huart2,UART_IT_IDLE);
    //       HAL_UART_Receive_DMA(&huart2,Data,Rx2BufferSize);
    //       }
    //       // HAL_TIM_PWM_Stop(&htim2,TIM_CHANNEL_1);
    //     }
    //     else
    //     {
    //       HAL_UART_Transmit(&huart1,"CRCERROR",8,0xFFFF);     //if CRC check is incorrect ,then return "CRCERROR"
    //       memset(Dec,0,sizeof(Dec));
    //     }
    //   }

    // //To get the spectrometer data under sample signal --- command fifteen
    // else if (memcmp(Dec,U1_Spec_samdata,sizeof(U1_Spec_samdata)) == 0)
    //   {
    //     //ModBus_CRC16
    //     CRC16 = ModBus_CRC16(Dec,6);
    //     if (Dec[7]==(uint8_t)CRC16&0xFF && Dec[6]==(uint8_t)(CRC16>>8)&0xFF)
    //     {
    //       CRC16 = 0;
    //       // HAL_TIM_PWM_Start(&htim2,TIM_CHANNEL_1);
    //       PWM_Sample();
    //       HAL_Delay(500);
    //       // HAL_UART_Transmit(&huart1,Dec,8,0xFFFF);
    //       HAL_UART_Transmit(&huart2,U2_Spec_xenonon,sizeof(U2_Spec_xenonon),0xFFFF);
    //       HAL_Delay(20);
    //       // HAL_UART_Transmit(&huart1,Data,Rx2_lendemo,0xFFFF);

    //       if (memcmp(Data,Spec_OK,sizeof(Spec_OK)) == 0)
    //       {
    //         Rx2_lendemo = 0;
    //         memset(Data,0,sizeof(Data));
    //         memset(Dec,0,sizeof(Dec));
    //         HAL_Delay(50);
    //         // HAL_UART_Transmit(&huart1,U2_Spec_getdata,sizeof(U2_Spec_getdata),0xFFFF);
    //         HAL_UART_Transmit(&huart2,U2_Spec_getdata,sizeof(U2_Spec_getdata),0xFFFF);

    //       HAL_UART_DMAStop(&huart2);
    //       __HAL_UART_DISABLE_IT(&huart2,UART_IT_IDLE);
    //       HAL_UART_Receive(&huart2,Data,Rx2BufferSize,3000);
    //       //If the spectrometer data is 0 twice in a row, jump out of the loop and send the data
    //       for (x=0;x<Rx2BufferSize;x++)
    //       {
    //         if (Data[x] == 0x00)
    //         {
    //           x += 1;
    //           if (Data[x] == 0x00)
    //           { x -= 1;
    //           break;
    //           }
    //         }
    //       }
    //       HAL_UART_Transmit(&huart1,Data,x,0xFFFF);
    //       Rx2_lendemo = 0;
    //       memset(Data,0,sizeof(Data));
    //       memset(Dec,0,sizeof(Dec));
    //       __HAL_UART_ENABLE_IT(&huart2,UART_IT_IDLE);
    //       HAL_UART_Receive_DMA(&huart2,Data,Rx2BufferSize);
    //       }
    //       // HAL_TIM_PWM_Stop(&htim2,TIM_CHANNEL_1);
    //     }
    //     else
    //     {
    //       HAL_UART_Transmit(&huart1,"CRCERROR",8,0xFFFF);     //if CRC check is incorrect ,then return "CRCERROR"
    //       memset(Dec,0,sizeof(Dec));
    //     }
    //   }

    // //To get the spectrometer data under three conditions --- command sixteen
    // else if (memcmp(Dec,U1_Spec_totaldata,6) == 0)
    // {
    //   //ModBus_CRC16
    //   CRC16 = ModBus_CRC16(Dec,6);
    //   if (Dec[7]==(uint8_t)CRC16&0xFF && Dec[6]==(uint8_t)(CRC16>>8)&0xFF)
    //   {
    //     CRC16 = 0;

    //     //dark condition
    //     HAL_UART_Transmit(&huart2,U2_Spec_xenonoff,sizeof(U2_Spec_xenonoff),0xFFFF);
    //     HAL_Delay(20);
    //     if (memcmp(Data,Spec_OK,sizeof(Spec_OK)) == 0)
    //     {
    //       PWM_dark();
    //       Rx2_lendemo = 0;
    //       memset(Data,0,sizeof(Data));
    //       // memset(Dec,0,sizeof(Dec));
    //       HAL_Delay(50);
    //       HAL_UART_DMAStop(&huart2);
    //       __HAL_UART_DISABLE_IT(&huart2,UART_IT_IDLE);
    //       HAL_UART_Transmit(&huart2,U2_Spec_getdata,sizeof(U2_Spec_getdata),0xFFFF);
    //       HAL_UART_Receive(&huart2,Data,Rx2BufferSize,2500);

    //       HAL_UART_Transmit(&huart1,Data,2063,0xFFFF);
    //       Rx2_lendemo = 0;
    //       memset(Data,0,sizeof(Data));
    //       memset(Dec,0,sizeof(Dec));
    //       __HAL_UART_ENABLE_IT(&huart2,UART_IT_IDLE);
    //       HAL_UART_Receive_DMA(&huart2,Data,Rx2BufferSize);
    //     }

    //     //sample signal condition
    //     HAL_UART_Transmit(&huart2,U2_Spec_xenononone,sizeof(U2_Spec_xenononone),0xFFFF);
    //     HAL_Delay(20);
    //     if (memcmp(Data,Spec_OK,sizeof(Spec_OK)) == 0)
    //     {
    //       PWM_Reference();
    //       HAL_Delay(500);
    //       Rx2_lendemo = 0;
    //       memset(Data,0,sizeof(Data));
    //       // memset(Dec,0,sizeof(Dec));
    //       HAL_Delay(50);

    //       HAL_UART_Transmit(&huart2,U2_Spec_getdata,sizeof(U2_Spec_getdata),0xFFFF);
    //       HAL_UART_DMAStop(&huart2);
    //       __HAL_UART_DISABLE_IT(&huart2,UART_IT_IDLE);
    //       HAL_UART_Receive(&huart2,Data,Rx2BufferSize,2500);

    //       HAL_UART_Transmit(&huart1,Data,2063,0xFFFF);
    //       Rx2_lendemo = 0;
    //       memset(Data,0,sizeof(Data));
    //       memset(Dec,0,sizeof(Dec));
    //       __HAL_UART_ENABLE_IT(&huart2,UART_IT_IDLE);
    //       HAL_UART_Receive_DMA(&huart2,Data,Rx2BufferSize);
    //     }

    //     //reference signal condition
    //     HAL_UART_Transmit(&huart2,U2_Spec_xenononone,sizeof(U2_Spec_xenononone),0xFFFF);
    //     HAL_Delay(20);
    //     if (memcmp(Data,Spec_OK,sizeof(Spec_OK)) == 0)
    //     {
    //       PWM_Sample();
    //       HAL_Delay(500);
    //       Rx2_lendemo = 0;
    //       memset(Data,0,sizeof(Data));
    //       // memset(Dec,0,sizeof(Dec));
    //       HAL_Delay(50);
    //       HAL_UART_Transmit(&huart2,U2_Spec_getdata,sizeof(U2_Spec_getdata),0xFFFF);
    //       HAL_UART_DMAStop(&huart2);
    //       __HAL_UART_DISABLE_IT(&huart2,UART_IT_IDLE);
    //       HAL_UART_Receive(&huart2,Data,Rx2BufferSize,2500);

    //       HAL_UART_Transmit(&huart1,Data,2063,0xFFFF);
    //       Rx2_lendemo = 0;
    //       memset(Data,0,sizeof(Data));
    //       memset(Dec,0,sizeof(Dec));
    //       __HAL_UART_ENABLE_IT(&huart2,UART_IT_IDLE);
    //       HAL_UART_Receive_DMA(&huart2,Data,Rx2BufferSize);
    //     }
    //   }

    //   else
    //   {
    //     HAL_UART_Transmit(&huart1,"CRCERROR",8,0xFFFF);
    //     memset(Dec,0,sizeof(Dec));
    //   }
    // }

    // To get the temp and hum --- command seventeen
    if (memcmp(Dec,U1_Spec_temp,sizeof(U1_Spec_temp)) == 0)
    {
      // HAL_TIM_PWM_Stop(&htim2,TIM_CHANNEL_1);
          // HAL_UART_DMAStop(&huart2);
          // __HAL_UART_DISABLE_IT(&huart2,UART_IT_IDLE);
      Measure_TR();
      // HAL_UART_Transmit(&huart1,"25.1968.77",10,0xFFFF);
      // InsideTemperature();
      memset(Dec,0,sizeof(Dec));
          // __HAL_UART_ENABLE_IT(&huart2,UART_IT_IDLE);
          // HAL_UART_Receive_DMA(&huart2,Data,Rx2BufferSize);
      // HAL_TIM_PWM_Start(&htim2,TIM_CHANNEL_1);
    }

    //Test the pulse
    // else if (memcmp(Dec,U1_Spec_test1,sizeof(U1_Spec_test1)) == 0)
    // {
    //     //dark condition
    //     HAL_UART_Transmit(&huart2,U2_Spec_xenonoff,sizeof(U2_Spec_xenonoff),0xFFFF);
    //     HAL_Delay(20);
    //     if (memcmp(Data,Spec_OK,sizeof(Spec_OK)) == 0)
    //     {
    //       PWM_dark();
    //       Rx2_lendemo = 0;
    //       memset(Data,0,sizeof(Data));
    //       // memset(Dec,0,sizeof(Dec));
    //       HAL_Delay(50);
    //       HAL_UART_DMAStop(&huart2);
    //       __HAL_UART_DISABLE_IT(&huart2,UART_IT_IDLE);
    //       HAL_UART_Transmit(&huart2,U2_Spec_getdata,sizeof(U2_Spec_getdata),0xFFFF);
    //       HAL_UART_Receive(&huart2,Data,Rx2BufferSize,2500);

    //       HAL_UART_Transmit(&huart1,Data,2063,0xFFFF);
    //       Rx2_lendemo = 0;
    //       memset(Data,0,sizeof(Data));
    //       memset(Dec,0,sizeof(Dec));
    //       __HAL_UART_ENABLE_IT(&huart2,UART_IT_IDLE);
    //       HAL_UART_Receive_DMA(&huart2,Data,Rx2BufferSize);
    //     }

    //     //sample signal condition
    //     HAL_UART_Transmit(&huart2,U2_Spec_xenononone,sizeof(U2_Spec_xenonon),0xFFFF);
    //     HAL_Delay(20);
    //     if (memcmp(Data,Spec_OK,sizeof(Spec_OK)) == 0)
    //     {
    //       PWM_Reference();
    //       HAL_Delay(500);
    //       Rx2_lendemo = 0;
    //       memset(Data,0,sizeof(Data));
    //       // memset(Dec,0,sizeof(Dec));
    //       HAL_Delay(50);

    //       HAL_UART_Transmit(&huart2,U2_Spec_getdata,sizeof(U2_Spec_getdata),0xFFFF);
    //       HAL_UART_DMAStop(&huart2);
    //       __HAL_UART_DISABLE_IT(&huart2,UART_IT_IDLE);
    //       HAL_UART_Receive(&huart2,Data,Rx2BufferSize,2500);

    //       HAL_UART_Transmit(&huart1,Data,2063,0xFFFF);
    //       Rx2_lendemo = 0;
    //       memset(Data,0,sizeof(Data));
    //       memset(Dec,0,sizeof(Dec));
    //       __HAL_UART_ENABLE_IT(&huart2,UART_IT_IDLE);
    //       HAL_UART_Receive_DMA(&huart2,Data,Rx2BufferSize);
    //     }

    //     //reference signal condition
    //     HAL_UART_Transmit(&huart2,U2_Spec_xenononone,sizeof(U2_Spec_xenonon),0xFFFF);
    //     HAL_Delay(20);
    //     if (memcmp(Data,Spec_OK,sizeof(Spec_OK)) == 0)
    //     {
    //       PWM_Sample();
    //       HAL_Delay(500);
    //       Rx2_lendemo = 0;
    //       memset(Data,0,sizeof(Data));
    //       // memset(Dec,0,sizeof(Dec));
    //       HAL_Delay(50);
    //       HAL_UART_Transmit(&huart2,U2_Spec_getdata,sizeof(U2_Spec_getdata),0xFFFF);
    //       HAL_UART_DMAStop(&huart2);
    //       __HAL_UART_DISABLE_IT(&huart2,UART_IT_IDLE);
    //       HAL_UART_Receive(&huart2,Data,Rx2BufferSize,2500);

    //       HAL_UART_Transmit(&huart1,Data,2063,0xFFFF);
    //       Rx2_lendemo = 0;
    //       memset(Data,0,sizeof(Data));
    //       memset(Dec,0,sizeof(Dec));
    //       __HAL_UART_ENABLE_IT(&huart2,UART_IT_IDLE);
    //       HAL_UART_Receive_DMA(&huart2,Data,Rx2BufferSize);
    //     }
    // }

    // else if (memcmp(Dec,U1_Spec_test2,sizeof(U1_Spec_test2)) == 0)
    // {
    //   HAL_UART_Transmit(&huart2,U2_Spec_xenononone,sizeof(U2_Spec_xenonon),0xFFFF);
    //   HAL_Delay(20);
    //   HAL_UART_Transmit(&huart1,Data,Rx2_lendemo,0xFFFF);
    //   Rx2_lendemo = 0;
    //   memset(Data,0,sizeof(Data));
    //   memset(Dec,0,sizeof(Dec));
    // }

    //debug the motor
      // __HAL_TIM_SET_COMPARE(&htim2,TIM_CHANNEL_1,2500);
    // HAL_Delay(1500);
    // __HAL_TIM_SET_COMPARE(&htim2,TIM_CHANNEL_1,2400);
    // PWM_Reference();
    // HAL_Delay(1500);
    // __HAL_TIM_SET_COMPARE(&htim2,TIM_CHANNEL_1,2030);
    // PWM_Sample();
    // HAL_Delay(1500);
    // __HAL_TIM_SET_COMPARE(&htim2,TIM_CHANNEL_1,1680);
    // PWM_dark();
    // HAL_Delay(1500);

    // //To view the waveform
    // else if (memcmp(Dec,U1_Spec_wave,sizeof(U1_Spec_wave)) == 0)
    // {
    //     //dark condition
    //     HAL_UART_Transmit(&huart2,U2_Spec_xenonoff,sizeof(U2_Spec_xenonoff),0xFFFF);
    //     HAL_Delay(20);
    //     if (memcmp(Data,Spec_OK,sizeof(Spec_OK)) == 0)
    //     {
    //       PWM_dark();
    //       Rx2_lendemo = 0;
    //       memset(Data,0,sizeof(Data));
    //       // memset(Dec,0,sizeof(Dec));
    //       HAL_Delay(50);
    //       HAL_UART_DMAStop(&huart2);
    //       __HAL_UART_DISABLE_IT(&huart2,UART_IT_IDLE);
    //       HAL_UART_Transmit(&huart2,U2_Spec_getdata,sizeof(U2_Spec_getdata),0xFFFF);
    //       HAL_UART_Receive(&huart2,Data,Rx2BufferSize,2300);

    //       // HAL_UART_Transmit(&huart1,Data,2063,0xFFFF);
    //       viewthewaveform();

    //       Rx2_lendemo = 0;
    //       memset(Data,0,sizeof(Data));
    //       memset(Dec,0,sizeof(Dec));
    //       __HAL_UART_ENABLE_IT(&huart2,UART_IT_IDLE);
    //       HAL_UART_Receive_DMA(&huart2,Data,Rx2BufferSize);
    //     }

    //     //sample signal condition
    //     HAL_UART_Transmit(&huart2,U2_Spec_xenonon,sizeof(U2_Spec_xenonon),0xFFFF);
    //     HAL_Delay(20);
    //     if (memcmp(Data,Spec_OK,sizeof(Spec_OK)) == 0)
    //     {
    //       PWM_Reference();
    //       HAL_Delay(500);
    //       Rx2_lendemo = 0;
    //       memset(Data,0,sizeof(Data));
    //       // memset(Dec,0,sizeof(Dec));
    //       HAL_Delay(50);

    //       HAL_UART_Transmit(&huart2,U2_Spec_getdata,sizeof(U2_Spec_getdata),0xFFFF);
    //       HAL_UART_DMAStop(&huart2);
    //       __HAL_UART_DISABLE_IT(&huart2,UART_IT_IDLE);
    //       HAL_UART_Receive(&huart2,Data,Rx2BufferSize,2300);

    //       // HAL_UART_Transmit(&huart1,Data,2063,0xFFFF);
    //       viewthewaveform();

    //       Rx2_lendemo = 0;
    //       memset(Data,0,sizeof(Data));
    //       memset(Dec,0,sizeof(Dec));
    //       __HAL_UART_ENABLE_IT(&huart2,UART_IT_IDLE);
    //       HAL_UART_Receive_DMA(&huart2,Data,Rx2BufferSize);
    //     }

    //     //reference signal condition
    //     HAL_UART_Transmit(&huart2,U2_Spec_xenonon,sizeof(U2_Spec_xenonon),0xFFFF);
    //     HAL_Delay(20);
    //     if (memcmp(Data,Spec_OK,sizeof(Spec_OK)) == 0)
    //     {
    //       PWM_Sample();
    //       HAL_Delay(500);
    //       Rx2_lendemo = 0;
    //       memset(Data,0,sizeof(Data));
    //       // memset(Dec,0,sizeof(Dec));
    //       HAL_Delay(50);
    //       HAL_UART_Transmit(&huart2,U2_Spec_getdata,sizeof(U2_Spec_getdata),0xFFFF);
    //       HAL_UART_DMAStop(&huart2);
    //       __HAL_UART_DISABLE_IT(&huart2,UART_IT_IDLE);
    //       HAL_UART_Receive(&huart2,Data,Rx2BufferSize,2300);

    //       // HAL_UART_Transmit(&huart1,Data,2063,0xFFFF);
    //       viewthewaveform();

    //       HAL_UART_Transmit(&huart1,Data,2063,0xFFFF);
    //       Rx2_lendemo = 0;
    //       memset(Data,0,sizeof(Data));
    //       memset(Dec,0,sizeof(Dec));
    //       __HAL_UART_ENABLE_IT(&huart2,UART_IT_IDLE);
    //       HAL_UART_Receive_DMA(&huart2,Data,Rx2BufferSize);
    //     }
    // }

    //To get the internal ambient temperature --- command eighteen
    // else if (memcmp(Dec,U1_SPec_intemp,sizeof(U1_SPec_intemp)) == 0)
    // {
    //   InsideTemperature();
    //   memset(Dec,0,sizeof(Dec));
    // }

    // To get the external ambient temperature --- command nineteen
    // else if (memcmp(Dec,U1_Spec_extemp,sizeof(U1_Spec_extemp)) == 0)
    // {
    //   Measure_TR();
    //   memset(Dec,0,sizeof(Dec));
    // }

  /*----------The following commands are used to test the steering of the motor----------*/
  //   else if (memcmp(Dec,testmotor,sizeof(testmotor)) ==0 && Dec[1] == 0x01)
  //   {
  // HAL_TIM_PWM_Start(&htim2,TIM_CHANNEL_1);
  // __HAL_TIM_SET_COMPARE(&htim2,TIM_CHANNEL_1,500);
  // HAL_Delay(1000);
  // HAL_TIM_PWM_Stop(&htim2,TIM_CHANNEL_1);
  // memset(Dec,0,sizeof(Dec));
  //   }
  //   else if (memcmp(Dec,testmotor,sizeof(testmotor)) ==0 && Dec[1] == 0x02)
  //   {
  // HAL_TIM_PWM_Start(&htim2,TIM_CHANNEL_1);
  // __HAL_TIM_SET_COMPARE(&htim2,TIM_CHANNEL_1,2500);
  // HAL_Delay(1000);
  // HAL_TIM_PWM_Stop(&htim2,TIM_CHANNEL_1);
  // memset(Dec,0,sizeof(Dec));
  //   }
  //   else if (memcmp(Dec,testmotor,sizeof(testmotor)) ==0 && Dec[1] == 0x03)
  //   {
  // HAL_TIM_PWM_Start(&htim2,TIM_CHANNEL_1);
  // __HAL_TIM_SET_COMPARE(&htim2,TIM_CHANNEL_1,1500);
  // HAL_Delay(1000);
  // HAL_TIM_PWM_Stop(&htim2,TIM_CHANNEL_1);
  // memset(Dec,0,sizeof(Dec));
  //   }
  //   else if (memcmp(Dec,testmotor,sizeof(testmotor)) ==0 && Dec[1] == 0x04)
  //   {
  // HAL_TIM_PWM_Start(&htim2,TIM_CHANNEL_1);
  // __HAL_TIM_SET_COMPARE(&htim2,TIM_CHANNEL_1,1867);
  // HAL_Delay(1000);
  // HAL_TIM_PWM_Stop(&htim2,TIM_CHANNEL_1);
  // memset(Dec,0,sizezzzof(Dec));
  //   }

        // //dark condition
        // HAL_UART_Transmit(&huart2,U2_Spec_xenonoff,sizeof(U2_Spec_xenonoff),0xFFFF);
        // HAL_Delay(20);
        // if (memcmp(Data,Spec_OK,sizeof(Spec_OK)) == 0)
        // {
        //   PWM_dark();
        //   Rx2_lendemo = 0;
        //   memset(Data,0,sizeof(Data));
        //   // memset(Dec,0,sizeof(Dec));
        //   HAL_Delay(50);
        //   HAL_UART_DMAStop(&huart2);
        //   __HAL_UART_DISABLE_IT(&huart2,UART_IT_IDLE);
        //   HAL_UART_Transmit(&huart2,U2_Spec_getdata,sizeof(U2_Spec_getdata),0xFFFF);
        //   HAL_UART_Receive(&huart2,Data,Rx2BufferSize,2500);

        //   HAL_UART_Transmit(&huart1,Data,2063,0xFFFF);
        //   Rx2_lendemo = 0;
        //   memset(Data,0,sizeof(Data));
        //   memset(Dec,0,sizeof(Dec));
        //   __HAL_UART_ENABLE_IT(&huart2,UART_IT_IDLE);
        //   HAL_UART_Receive_DMA(&huart2,Data,Rx2BufferSize);
        // }

        // //sample signal condition
        // HAL_UART_Transmit(&huart2,U2_Spec_xenonon,sizeof(U2_Spec_xenonon),0xFFFF);
        // HAL_Delay(20);
        // if (memcmp(Data,Spec_OK,sizeof(Spec_OK)) == 0)
        // {
        //   PWM_Reference();
        //   HAL_Delay(500);
        //   Rx2_lendemo = 0;
        //   memset(Data,0,sizeof(Data));
        //   // memset(Dec,0,sizeof(Dec));
        //   HAL_Delay(50);

        //   HAL_UART_Transmit(&huart2,U2_Spec_getdata,sizeof(U2_Spec_getdata),0xFFFF);
        //   HAL_UART_DMAStop(&huart2);
        //   __HAL_UART_DISABLE_IT(&huart2,UART_IT_IDLE);
        //   HAL_UART_Receive(&huart2,Data,Rx2BufferSize,2500);

        //   HAL_UART_Transmit(&huart1,Data,2063,0xFFFF);
        //   Rx2_lendemo = 0;
        //   memset(Data,0,sizeof(Data));
        //   memset(Dec,0,sizeof(Dec));
        //   __HAL_UART_ENABLE_IT(&huart2,UART_IT_IDLE);
        //   HAL_UART_Receive_DMA(&huart2,Data,Rx2BufferSize);
        // }

        // //reference signal condition
        // HAL_UART_Transmit(&huart2,U2_Spec_xenonon,sizeof(U2_Spec_xenonon),0xFFFF);
        // HAL_Delay(20);
        // if (memcmp(Data,Spec_OK,sizeof(Spec_OK)) == 0)
        // {
        //   PWM_Sample();
        //   HAL_Delay(500);
        //   Rx2_lendemo = 0;
        //   memset(Data,0,sizeof(Data));
        //   // memset(Dec,0,sizeof(Dec));
        //   HAL_Delay(50);
        //   HAL_UART_Transmit(&huart2,U2_Spec_getdata,sizeof(U2_Spec_getdata),0xFFFF);
        //   HAL_UART_DMAStop(&huart2);
        //   __HAL_UART_DISABLE_IT(&huart2,UART_IT_IDLE);
        //   HAL_UART_Receive(&huart2,Data,Rx2BufferSize,2500);

        //   HAL_UART_Transmit(&huart1,Data,2063,0xFFFF);
        //   Rx2_lendemo = 0;
        //   memset(Data,0,sizeof(Data));
        //   memset(Dec,0,sizeof(Dec));
        //   __HAL_UART_ENABLE_IT(&huart2,UART_IT_IDLE);
        //   HAL_UART_Receive_DMA(&huart2,Data,Rx2BufferSize);
        // }

    HAL_GPIO_WritePin(GPIOC,LED_Pin,GPIO_PIN_RESET);
    HAL_Delay(50);
    /* USER CODE END WHILE */

  }
}

void SystemClock_Config(void)
{
  RCC_OscInitTypeDef RCC_OscInitStruct = {0};
  RCC_ClkInitTypeDef RCC_ClkInitStruct = {0};
  RCC_PeriphCLKInitTypeDef PeriphClkInit = {0};

  /** Initializes the RCC Oscillators according to the specified parameters
  * in the RCC_OscInitTypeDef structure.
  */
  RCC_OscInitStruct.OscillatorType = RCC_OSCILLATORTYPE_HSE;
  RCC_OscInitStruct.HSEState = RCC_HSE_ON;
  RCC_OscInitStruct.HSEPredivValue = RCC_HSE_PREDIV_DIV1;
  RCC_OscInitStruct.HSIState = RCC_HSI_ON;
  RCC_OscInitStruct.PLL.PLLState = RCC_PLL_ON;
  RCC_OscInitStruct.PLL.PLLSource = RCC_PLLSOURCE_HSE;
  RCC_OscInitStruct.PLL.PLLMUL = RCC_PLL_MUL9;
  if (HAL_RCC_OscConfig(&RCC_OscInitStruct) != HAL_OK)
  {
    Error_Handler();
  }
  /** Initializes the CPU, AHB and APB buses clocks
  */
  RCC_ClkInitStruct.ClockType = RCC_CLOCKTYPE_HCLK|RCC_CLOCKTYPE_SYSCLK
                              |RCC_CLOCKTYPE_PCLK1|RCC_CLOCKTYPE_PCLK2;
  RCC_ClkInitStruct.SYSCLKSource = RCC_SYSCLKSOURCE_PLLCLK;
  RCC_ClkInitStruct.AHBCLKDivider = RCC_SYSCLK_DIV1;
  RCC_ClkInitStruct.APB1CLKDivider = RCC_HCLK_DIV2;
  RCC_ClkInitStruct.APB2CLKDivider = RCC_HCLK_DIV1;

  if (HAL_RCC_ClockConfig(&RCC_ClkInitStruct, FLASH_LATENCY_2) != HAL_OK)
  {
    Error_Handler();
  }
  PeriphClkInit.PeriphClockSelection = RCC_PERIPHCLK_ADC;
  PeriphClkInit.AdcClockSelection = RCC_ADCPCLK2_DIV6;
  if (HAL_RCCEx_PeriphCLKConfig(&PeriphClkInit) != HAL_OK)
  {
    Error_Handler();
  }
}

/* USER CODE BEGIN 4 */

/**
 * @brief CRC16 check code. The function is used for data verification when communicating with PC.
 *
 * @param pdata
 * @param len
 * @return uint16_t
 */
uint16_t ModBus_CRC16( uint8_t *pdata, int len)     //polynomial: 8005
{
  uint16_t crc=0xFFFF;                        //Initial value
  for ( CRC_j=0; CRC_j<len;CRC_j++)
  {
    crc=crc^pdata[CRC_j];
    for ( CRC_i=0; CRC_i<8; CRC_i++)
    {
      if( ( crc&0x0001) >0)
      {
        crc=crc>>1;
        crc=crc^ 0xA001;                            //We take 8005 in reverse.
      }
    else
    crc=crc>>1;
    }
  }
return crc;
}

/**
 * @brief Cut a specific length from the A array to the B array.
 *
 * @param pdata target array
 * @param ppdata truncated array
 * @param st1 start bit of the destination array
 * @param st2 start bit of truncated array
 * @param length The length of the truncated array
 */
void memv(uint8_t *pdata,uint8_t *ppdata,int st1,int st2,int length)
{
  for (memv_i=0;memv_i<length;memv_i++)
  {
    pdata[memv_i+st1] = ppdata[memv_i+st2];
  }
}

/**
 * @brief To apply the Serial port debugging assistant
 *
 */
void viewthewaveform(void)
{
  for (view_i=0;view_i<2048;view_i=view_i+2)
  {
    printf("Spec=%d%d,",Data[view_i+9],Data[view_i+10]);
  }
}

/* USER CODE END 4 */

void Error_Handler(void)
{
  __disable_irq();
  while (1)
  {
  }
}
